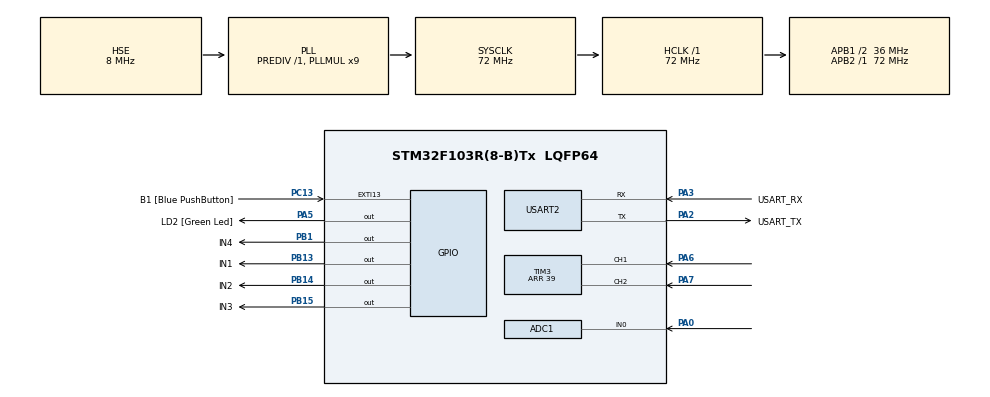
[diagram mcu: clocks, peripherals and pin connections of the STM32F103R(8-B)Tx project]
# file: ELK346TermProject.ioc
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ADC1.Channel-0\#ChannelRegularConversion=ADC_CHANNEL_0
ADC1.ContinuousConvMode=ENABLE
ADC1.NbrOfConversion=1
ADC1.NbrOfConversionFlag=1
ADC1.Rank-0\#ChannelRegularConversion=1
ADC1.SamplingTime-0\#ChannelRegularConversion=ADC_SAMPLETIME_55CYCLES_5
ADC1.master=1
Mcu.Family=STM32F1
Mcu.Name=STM32F103R(8-B)Tx
Mcu.Package=LQFP64
NVIC.ADC1_2_IRQn=true\:0\:0\:false\:false\:true\:true\:true\:true
NVIC.EXTI15_10_IRQn=true\:0\:0\:false\:false\:true\:true\:true\:true
NVIC.PriorityGroup=NVIC_PRIORITYGROUP_4
NVIC.TIM3_IRQn=true\:0\:0\:true\:false\:true\:true\:true\:true
PA0-WKUP.Signal=ADCx_IN0
PA13.GPIO_Label=TMS
PA13.Mode=Serial_Wire
PA13.Signal=SYS_JTMS-SWDIO
PA14.GPIO_Label=TCK
PA14.Mode=Serial_Wire
PA14.Signal=SYS_JTCK-SWCLK
PA2.GPIO_Label=USART_TX
PA2.GPIO_Mode=GPIO_MODE_AF_PP
PA2.GPIO_PuPd=GPIO_NOPULL
PA2.GPIO_Speed=GPIO_SPEED_FREQ_LOW
PA2.Mode=Asynchronous
PA2.Signal=USART2_TX
PA3.GPIO_Label=USART_RX
PA3.GPIO_Mode=GPIO_MODE_AF_PP
PA3.GPIO_PuPd=GPIO_NOPULL
PA3.GPIO_Speed=GPIO_SPEED_FREQ_LOW
PA3.Mode=Asynchronous
PA3.Signal=USART2_RX
PA5.GPIO_Label=LD2 [Green Led]
PA5.GPIO_ModeDefaultOutputPP=GPIO_MODE_OUTPUT_PP
PA5.GPIO_PuPd=GPIO_NOPULL
PA5.GPIO_Speed=GPIO_SPEED_FREQ_LOW
PA5.Signal=GPIO_Output
PA6.Signal=S_TIM3_CH1
PA7.Signal=S_TIM3_CH2
PB1.GPIO_Label=IN4
PB1.Signal=GPIO_Output
PB13.GPIO_Label=IN1
PB13.Signal=GPIO_Output
PB14.GPIO_Label=IN2
PB14.Signal=GPIO_Output
PB15.GPIO_Label=IN3
PB15.Signal=GPIO_Output
PB3.GPIO_Label=SWO
PB3.Signal=SYS_JTDO-TRACESWO
PC13-TAMPER-RTC.GPIO_Label=B1 [Blue PushButton]
PC13-TAMPER-RTC.GPIO_PuPd=GPIO_NOPULL
PC13-TAMPER-RTC.Signal=GPXTI13
PC14-OSC32_IN.Mode=LSE-External-Oscillator
PC14-OSC32_IN.Signal=RCC_OSC32_IN
PC15-OSC32_OUT.Mode=LSE-External-Oscillator
PC15-OSC32_OUT.Signal=RCC_OSC32_OUT
PD0-OSC_IN.Mode=HSE-External-Oscillator
PD0-OSC_IN.Signal=RCC_OSC_IN
PD1-OSC_OUT.Mode=HSE-External-Oscillator
PD1-OSC_OUT.Signal=RCC_OSC_OUT
ProjectManager.HeapSize=0x200
ProjectManager.StackSize=0x400
ProjectManager.TargetToolchain=STM32CubeIDE
RCC.ADCPresc=RCC_ADCPCLK2_DIV6
RCC.AHBFreq_Value=72000000
RCC.APB1CLKDivider=RCC_HCLK_DIV2
RCC.APB1Freq_Value=36000000
RCC.APB1TimFreq_Value=72000000
RCC.APB2Freq_Value=72000000
RCC.APB2TimFreq_Value=72000000
RCC.HCLKFreq_Value=72000000
RCC.PLLMUL=RCC_PLL_MUL9
RCC.PLLSourceVirtual=RCC_PLLSOURCE_HSE
RCC.RTCClockSelection=RCC_RTCCLKSOURCE_LSE
RCC.SYSCLKFreq_VALUE=72000000
RCC.SYSCLKSource=RCC_SYSCLKSOURCE_PLLCLK
RCC.USBFreq_Value=72000000
SH.ADCx_IN0.0=ADC1_IN0,IN0
SH.S_TIM3_CH1.0=TIM3_CH1,Encoder_Interface
SH.S_TIM3_CH2.0=TIM3_CH2,Encoder_Interface
TIM1.Prescaler=71
TIM3.AutoReloadPreload=TIM_AUTORELOAD_PRELOAD_DISABLE
TIM3.EncoderMode=TIM_ENCODERMODE_TI1
TIM3.IC1Filter=5
TIM3.IC1Polarity=TIM_ICPOLARITY_RISING
TIM3.IC2Polarity=TIM_ICPOLARITY_RISING
TIM3.Period=39
USART2.VirtualMode=VM_ASYNC
VP_TIM1_VS_ClockSourceINT.Mode=Internal
board=NUCLEO-F103RB

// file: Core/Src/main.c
/* USER CODE BEGIN Header */
/**
  ******************************************************************************
  * @file           : main.c
  * @brief          : Main program body
  ******************************************************************************
  * @attention
  *
  * Copyright (c) 2024 STMicroelectronics.
  * All rights reserved.
  *
  * This software is licensed under terms that can be found in the LICENSE file
  * in the root directory of this software component.
  * If no LICENSE file comes with this software, it is provided AS-IS.
  *
  ******************************************************************************
  */
/* USER CODE END Header */
#include "main.h"

/* USER CODE BEGIN Includes */
#include "math.h"
#include <stdio.h>
#include <string.h>

/* USER CODE END Includes */

ADC_HandleTypeDef hadc1;

TIM_HandleTypeDef htim1;
TIM_HandleTypeDef htim3;

UART_HandleTypeDef huart2;

/* USER CODE BEGIN PV */
int adc_raw;
double temp;
double a;
double b;
double c;
float R = 0;
float voltage = 0;
double temperature = 0;

char txbuf[25];
int flag = 0;

/* USER CODE END PV */

void SystemClock_Config(void);
static void MX_GPIO_Init(void);
static void MX_USART2_UART_Init(void);
static void MX_ADC1_Init(void);
static void MX_TIM3_Init(void);
static void MX_TIM1_Init(void);

/* USER CODE BEGIN 0 */

#define IN1_PIN GPIO_PIN_13
#define IN1_PORT GPIOB
#define IN2_PIN GPIO_PIN_14
#define IN2_PORT GPIOB
#define IN3_PIN GPIO_PIN_15
#define IN3_PORT GPIOB
#define IN4_PIN GPIO_PIN_1
#define IN4_PORT GPIOB

void microDelay (uint16_t delay)
{
  __HAL_TIM_SET_COUNTER(&htim1, 0);
  while (__HAL_TIM_GET_COUNTER(&htim1) < delay);
}

void stepCCV (int steps, uint16_t delay) // CCV - Counter Clockwise
{
  for(int x=0; x<steps; x=x+1)
  {
    HAL_GPIO_WritePin(IN1_PORT, IN1_PIN, GPIO_PIN_SET);   // IN1
    HAL_GPIO_WritePin(IN2_PORT, IN2_PIN, GPIO_PIN_RESET); // IN2
    HAL_GPIO_WritePin(IN3_PORT, IN3_PIN, GPIO_PIN_RESET); // IN3
    HAL_GPIO_WritePin(IN4_PORT, IN4_PIN, GPIO_PIN_RESET); // IN4
    microDelay(delay);
    HAL_GPIO_WritePin(IN1_PORT, IN1_PIN, GPIO_PIN_SET);   // IN1
    HAL_GPIO_WritePin(IN2_PORT, IN2_PIN, GPIO_PIN_SET);   // IN2
    HAL_GPIO_WritePin(IN3_PORT, IN3_PIN, GPIO_PIN_RESET); // IN3
    HAL_GPIO_WritePin(IN4_PORT, IN4_PIN, GPIO_PIN_RESET); // IN4
    microDelay(delay);
    HAL_GPIO_WritePin(IN1_PORT, IN1_PIN, GPIO_PIN_RESET); // IN1
    HAL_GPIO_WritePin(IN2_PORT, IN2_PIN, GPIO_PIN_SET);   // IN2
    HAL_GPIO_WritePin(IN3_PORT, IN3_PIN, GPIO_PIN_RESET); // IN3
    HAL_GPIO_WritePin(IN4_PORT, IN4_PIN, GPIO_PIN_RESET); // IN4
    microDelay(delay);
    HAL_GPIO_WritePin(IN1_PORT, IN1_PIN, GPIO_PIN_RESET); // IN1
    HAL_GPIO_WritePin(IN2_PORT, IN2_PIN, GPIO_PIN_SET);   // IN2
    HAL_GPIO_WritePin(IN3_PORT, IN3_PIN, GPIO_PIN_SET);   // IN3
    HAL_GPIO_WritePin(IN4_PORT, IN4_PIN, GPIO_PIN_RESET); // IN4
    microDelay(delay);
    HAL_GPIO_WritePin(IN1_PORT, IN1_PIN, GPIO_PIN_RESET); // IN1
    HAL_GPIO_WritePin(IN2_PORT, IN2_PIN, GPIO_PIN_RESET); // IN2
    HAL_GPIO_WritePin(IN3_PORT, IN3_PIN, GPIO_PIN_SET);   // IN3
    HAL_GPIO_WritePin(IN4_PORT, IN4_PIN, GPIO_PIN_RESET); // IN4
    microDelay(delay);
    HAL_GPIO_WritePin(IN1_PORT, IN1_PIN, GPIO_PIN_RESET); // IN1
    HAL_GPIO_WritePin(IN2_PORT, IN2_PIN, GPIO_PIN_RESET); // IN2
    HAL_GPIO_WritePin(IN3_PORT, IN3_PIN, GPIO_PIN_SET);   // IN3
    HAL_GPIO_WritePin(IN4_PORT, IN4_PIN, GPIO_PIN_SET);   // IN4
    microDelay(delay);
    HAL_GPIO_WritePin(IN1_PORT, IN1_PIN, GPIO_PIN_RESET); // IN1
    HAL_GPIO_WritePin(IN2_PORT, IN2_PIN, GPIO_PIN_RESET); // IN2
    HAL_GPIO_WritePin(IN3_PORT, IN3_PIN, GPIO_PIN_RESET); // IN3
    HAL_GPIO_WritePin(IN4_PORT, IN4_PIN, GPIO_PIN_SET);   // IN4
    microDelay(delay);
    HAL_GPIO_WritePin(IN1_PORT, IN1_PIN, GPIO_PIN_SET);   // IN1
    HAL_GPIO_WritePin(IN2_PORT, IN2_PIN, GPIO_PIN_RESET); // IN2
    HAL_GPIO_WritePin(IN3_PORT, IN3_PIN, GPIO_PIN_RESET); // IN3
    HAL_GPIO_WritePin(IN4_PORT, IN4_PIN, GPIO_PIN_SET);   // IN4
    microDelay(delay);
  }
}

void stepCV (int steps, uint16_t delay) // CV - Clockwise
{
  for(int x=0; x<steps; x=x+1)
  {
    HAL_GPIO_WritePin(IN1_PORT, IN1_PIN, GPIO_PIN_SET);   // IN1
    HAL_GPIO_WritePin(IN2_PORT, IN2_PIN, GPIO_PIN_RESET); // IN2
    HAL_GPIO_WritePin(IN3_PORT, IN3_PIN, GPIO_PIN_RESET); // IN3
    HAL_GPIO_WritePin(IN4_PORT, IN4_PIN, GPIO_PIN_SET);   // IN4
    microDelay(delay);
    HAL_GPIO_WritePin(IN1_PORT, IN1_PIN, GPIO_PIN_RESET); // IN1
    HAL_GPIO_WritePin(IN2_PORT, IN2_PIN, GPIO_PIN_RESET); // IN2
    HAL_GPIO_WritePin(IN3_PORT, IN3_PIN, GPIO_PIN_RESET); // IN3
    HAL_GPIO_WritePin(IN4_PORT, IN4_PIN, GPIO_PIN_SET);   // IN4
    microDelay(delay);
    HAL_GPIO_WritePin(IN1_PORT, IN1_PIN, GPIO_PIN_RESET); // IN1
    HAL_GPIO_WritePin(IN2_PORT, IN2_PIN, GPIO_PIN_RESET); // IN2
    HAL_GPIO_WritePin(IN3_PORT, IN3_PIN, GPIO_PIN_SET);   // IN3
    HAL_GPIO_WritePin(IN4_PORT, IN4_PIN, GPIO_PIN_SET);   // IN4
    microDelay(delay);
    HAL_GPIO_WritePin(IN1_PORT, IN1_PIN, GPIO_PIN_RESET); // IN1
    HAL_GPIO_WritePin(IN2_PORT, IN2_PIN, GPIO_PIN_RESET); // IN2
    HAL_GPIO_WritePin(IN3_PORT, IN3_PIN, GPIO_PIN_SET);   // IN3
    HAL_GPIO_WritePin(IN4_PORT, IN4_PIN, GPIO_PIN_RESET); // IN4
    microDelay(delay);
    HAL_GPIO_WritePin(IN1_PORT, IN1_PIN, GPIO_PIN_RESET); // IN1
    HAL_GPIO_WritePin(IN2_PORT, IN2_PIN, GPIO_PIN_SET);   // IN2
    HAL_GPIO_WritePin(IN3_PORT, IN3_PIN, GPIO_PIN_SET);   // IN3
    HAL_GPIO_WritePin(IN4_PORT, IN4_PIN, GPIO_PIN_RESET); // IN4
    microDelay(delay);
    HAL_GPIO_WritePin(IN1_PORT, IN1_PIN, GPIO_PIN_RESET); // IN1
    HAL_GPIO_WritePin(IN2_PORT, IN2_PIN, GPIO_PIN_SET);   // IN2
    HAL_GPIO_WritePin(IN3_PORT, IN3_PIN, GPIO_PIN_RESET); // IN3
    HAL_GPIO_WritePin(IN4_PORT, IN4_PIN, GPIO_PIN_RESET); // IN4
    microDelay(delay);
    HAL_GPIO_WritePin(IN1_PORT, IN1_PIN, GPIO_PIN_SET);   // IN1
    HAL_GPIO_WritePin(IN2_PORT, IN2_PIN, GPIO_PIN_SET);   // IN2
    HAL_GPIO_WritePin(IN3_PORT, IN3_PIN, GPIO_PIN_RESET); // IN3
    HAL_GPIO_WritePin(IN4_PORT, IN4_PIN, GPIO_PIN_RESET); // IN4
    microDelay(delay);
    HAL_GPIO_WritePin(IN1_PORT, IN1_PIN, GPIO_PIN_SET);   // IN1
    HAL_GPIO_WritePin(IN2_PORT, IN2_PIN, GPIO_PIN_RESET); // IN2
    HAL_GPIO_WritePin(IN3_PORT, IN3_PIN, GPIO_PIN_RESET); // IN3
    HAL_GPIO_WritePin(IN4_PORT, IN4_PIN, GPIO_PIN_RESET); // IN4
    microDelay(delay);
  }
}

uint32_t counter = 0;
int16_t position = 0;

void HAL_TIM_IC_CaptureCallback(TIM_HandleTypeDef *htim){
	counter = __HAL_TIM_GET_COUNTER(htim);
	position = counter/2;
	if(counter == 0){
			stepCCV(128, 1000);
		}
}

/* USER CODE END 0 */

int main(void)
{

  /* MCU Configuration--------------------------------------------------------*/

  /* Reset of all peripherals, Initializes the Flash interface and the Systick. */
  HAL_Init();

  /* Configure the system clock */
  SystemClock_Config();

  /* Initialize all configured peripherals */
  MX_GPIO_Init();
  MX_USART2_UART_Init();
  MX_ADC1_Init();
  MX_TIM3_Init();
  MX_TIM1_Init();
  /* USER CODE BEGIN 2 */
  HAL_TIM_Base_Start(&htim1);
  HAL_TIM_Encoder_Start_IT(&htim3, TIM_CHANNEL_1);
  HAL_ADC_Start(&hadc1);
  HAL_ADC_Start_IT(&hadc1);

  /* USER CODE END 2 */

  /* Infinite loop */
  while (1)
  {

  }
}

void SystemClock_Config(void)
{
  RCC_OscInitTypeDef RCC_OscInitStruct = {0};
  RCC_ClkInitTypeDef RCC_ClkInitStruct = {0};
  RCC_PeriphCLKInitTypeDef PeriphClkInit = {0};

  /** Initializes the RCC Oscillators according to the specified parameters
  * in the RCC_OscInitTypeDef structure.
  */
  RCC_OscInitStruct.OscillatorType = RCC_OSCILLATORTYPE_HSE;
  RCC_OscInitStruct.HSEState = RCC_HSE_ON;
  RCC_OscInitStruct.HSEPredivValue = RCC_HSE_PREDIV_DIV1;
  RCC_OscInitStruct.HSIState = RCC_HSI_ON;
  RCC_OscInitStruct.PLL.PLLState = RCC_PLL_ON;
  RCC_OscInitStruct.PLL.PLLSource = RCC_PLLSOURCE_HSE;
  RCC_OscInitStruct.PLL.PLLMUL = RCC_PLL_MUL9;
  if (HAL_RCC_OscConfig(&RCC_OscInitStruct) != HAL_OK)
  {
    Error_Handler();
  }

  /** Initializes the CPU, AHB and APB buses clocks
  */
  RCC_ClkInitStruct.ClockType = RCC_CLOCKTYPE_HCLK|RCC_CLOCKTYPE_SYSCLK
                              |RCC_CLOCKTYPE_PCLK1|RCC_CLOCKTYPE_PCLK2;
  RCC_ClkInitStruct.SYSCLKSource = RCC_SYSCLKSOURCE_PLLCLK;
  RCC_ClkInitStruct.AHBCLKDivider = RCC_SYSCLK_DIV1;
  RCC_ClkInitStruct.APB1CLKDivider = RCC_HCLK_DIV2;
  RCC_ClkInitStruct.APB2CLKDivider = RCC_HCLK_DIV1;

  if (HAL_RCC_ClockConfig(&RCC_ClkInitStruct, FLASH_LATENCY_2) != HAL_OK)
  {
    Error_Handler();
  }
  PeriphClkInit.PeriphClockSelection = RCC_PERIPHCLK_ADC;
  PeriphClkInit.AdcClockSelection = RCC_ADCPCLK2_DIV6;
  if (HAL_RCCEx_PeriphCLKConfig(&PeriphClkInit) != HAL_OK)
  {
    Error_Handler();
  }
}

static void MX_ADC1_Init(void)
{

  ADC_ChannelConfTypeDef sConfig = {0};

  /** Common config
  */
  hadc1.Instance = ADC1;
  hadc1.Init.ScanConvMode = ADC_SCAN_DISABLE;
  hadc1.Init.ContinuousConvMode = ENABLE;
  hadc1.Init.DiscontinuousConvMode = DISABLE;
  hadc1.Init.ExternalTrigConv = ADC_SOFTWARE_START;
  hadc1.Init.DataAlign = ADC_DATAALIGN_RIGHT;
  hadc1.Init.NbrOfConversion = 1;
  if (HAL_ADC_Init(&hadc1) != HAL_OK)
  {
    Error_Handler();
  }

  /** Configure Regular Channel
  */
  sConfig.Channel = ADC_CHANNEL_0;
  sConfig.Rank = ADC_REGULAR_RANK_1;
  sConfig.SamplingTime = ADC_SAMPLETIME_55CYCLES_5;
  if (HAL_ADC_ConfigChannel(&hadc1, &sConfig) != HAL_OK)
  {
    Error_Handler();
  }

}

static void MX_TIM1_Init(void)
{

  TIM_ClockConfigTypeDef sClockSourceConfig = {0};
  TIM_MasterConfigTypeDef sMasterConfig = {0};

  htim1.Instance = TIM1;
  htim1.Init.Prescaler = 71;
  htim1.Init.CounterMode = TIM_COUNTERMODE_UP;
  htim1.Init.Period = 65535;
  htim1.Init.ClockDivision = TIM_CLOCKDIVISION_DIV1;
  htim1.Init.RepetitionCounter = 0;
  htim1.Init.AutoReloadPreload = TIM_AUTORELOAD_PRELOAD_DISABLE;
  if (HAL_TIM_Base_Init(&htim1) != HAL_OK)
  {
    Error_Handler();
  }
  sClockSourceConfig.ClockSource = TIM_CLOCKSOURCE_INTERNAL;
  if (HAL_TIM_ConfigClockSource(&htim1, &sClockSourceConfig) != HAL_OK)
  {
    Error_Handler();
  }
  sMasterConfig.MasterOutputTrigger = TIM_TRGO_RESET;
  sMasterConfig.MasterSlaveMode = TIM_MASTERSLAVEMODE_DISABLE;
  if (HAL_TIMEx_MasterConfigSynchronization(&htim1, &sMasterConfig) != HAL_OK)
  {
    Error_Handler();
  }

}

static void MX_TIM3_Init(void)
{

  TIM_Encoder_InitTypeDef sConfig = {0};
  TIM_MasterConfigTypeDef sMasterConfig = {0};

  htim3.Instance = TIM3;
  htim3.Init.Prescaler = 0;
  htim3.Init.CounterMode = TIM_COUNTERMODE_UP;
  htim3.Init.Period = 39;
  htim3.Init.ClockDivision = TIM_CLOCKDIVISION_DIV1;
  htim3.Init.AutoReloadPreload = TIM_AUTORELOAD_PRELOAD_DISABLE;
  sConfig.EncoderMode = TIM_ENCODERMODE_TI1;
  sConfig.IC1Polarity = TIM_ICPOLARITY_RISING;
  sConfig.IC1Selection = TIM_ICSELECTION_DIRECTTI;
  sConfig.IC1Prescaler = TIM_ICPSC_DIV1;
  sConfig.IC1Filter = 5;
  sConfig.IC2Polarity = TIM_ICPOLARITY_RISING;
  sConfig.IC2Selection = TIM_ICSELECTION_DIRECTTI;
  sConfig.IC2Prescaler = TIM_ICPSC_DIV1;
  sConfig.IC2Filter = 0;
  if (HAL_TIM_Encoder_Init(&htim3, &sConfig) != HAL_OK)
  {
    Error_Handler();
  }
  sMasterConfig.MasterOutputTrigger = TIM_TRGO_RESET;
  sMasterConfig.MasterSlaveMode = TIM_MASTERSLAVEMODE_DISABLE;
  if (HAL_TIMEx_MasterConfigSynchronization(&htim3, &sMasterConfig) != HAL_OK)
  {
    Error_Handler();
  }

}

static void MX_USART2_UART_Init(void)
{

  huart2.Instance = USART2;
  huart2.Init.BaudRate = 115200;
  huart2.Init.WordLength = UART_WORDLENGTH_8B;
  huart2.Init.StopBits = UART_STOPBITS_1;
  huart2.Init.Parity = UART_PARITY_NONE;
  huart2.Init.Mode = UART_MODE_TX_RX;
  huart2.Init.HwFlowCtl = UART_HWCONTROL_NONE;
  huart2.Init.OverSampling = UART_OVERSAMPLING_16;
  if (HAL_UART_Init(&huart2) != HAL_OK)
  {
    Error_Handler();
  }

}

static void MX_GPIO_Init(void)
{
  GPIO_InitTypeDef GPIO_InitStruct = {0};

  /* GPIO Ports Clock Enable */
  __HAL_RCC_GPIOC_CLK_ENABLE();
  __HAL_RCC_GPIOD_CLK_ENABLE();
  __HAL_RCC_GPIOA_CLK_ENABLE();
  __HAL_RCC_GPIOB_CLK_ENABLE();

  /*Configure GPIO pin Output Level */
  HAL_GPIO_WritePin(LD2_GPIO_Port, LD2_Pin, GPIO_PIN_RESET);

  /*Configure GPIO pin Output Level */
  HAL_GPIO_WritePin(GPIOB, IN4_Pin|IN1_Pin|IN2_Pin|IN3_Pin, GPIO_PIN_RESET);

  /*Configure GPIO pin : B1_Pin */
  GPIO_InitStruct.Pin = B1_Pin;
  GPIO_InitStruct.Mode = GPIO_MODE_IT_RISING;
  GPIO_InitStruct.Pull = GPIO_NOPULL;
  HAL_GPIO_Init(B1_GPIO_Port, &GPIO_InitStruct);

  /*Configure GPIO pin : LD2_Pin */
  GPIO_InitStruct.Pin = LD2_Pin;
  GPIO_InitStruct.Mode = GPIO_MODE_OUTPUT_PP;
  GPIO_InitStruct.Pull = GPIO_NOPULL;
  GPIO_InitStruct.Speed = GPIO_SPEED_FREQ_LOW;
  HAL_GPIO_Init(LD2_GPIO_Port, &GPIO_InitStruct);

  /*Configure GPIO pins : IN4_Pin IN1_Pin IN2_Pin IN3_Pin */
  GPIO_InitStruct.Pin = IN4_Pin|IN1_Pin|IN2_Pin|IN3_Pin;
  GPIO_InitStruct.Mode = GPIO_MODE_OUTPUT_PP;
  GPIO_InitStruct.Pull = GPIO_NOPULL;
  GPIO_InitStruct.Speed = GPIO_SPEED_FREQ_LOW;
  HAL_GPIO_Init(GPIOB, &GPIO_InitStruct);

  /* EXTI interrupt init*/
  HAL_NVIC_SetPriority(EXTI15_10_IRQn, 0, 0);
  HAL_NVIC_EnableIRQ(EXTI15_10_IRQn);

}

/* USER CODE BEGIN 4 */

void HAL_ADC_ConvCpltCallback(ADC_HandleTypeDef* hadc)
{
	a = 0.0004539418411;
	b = 0.0003617759715;
	c = 0.0000005190100184;

	adc_raw = HAL_ADC_GetValue(&hadc1);
	voltage = (adc_raw*3.3)/4095;
	R = (33000/voltage)-10000;
	temperature = a + b*(log(R)) + (c*(log(R)) * (log(R)) * (log(R)));
	temp = 1/temperature;
	temp = temp - 200.00;

	if(temp>30 && flag == 0)
	{
		HAL_GPIO_WritePin(GPIOA, GPIO_PIN_5, GPIO_PIN_SET);
		stepCV(512, 1000);
		flag = 1;
	}
}

/* USER CODE END 4 */

void Error_Handler(void)
{
  __disable_irq();
  while (1)
  {
  }
}
